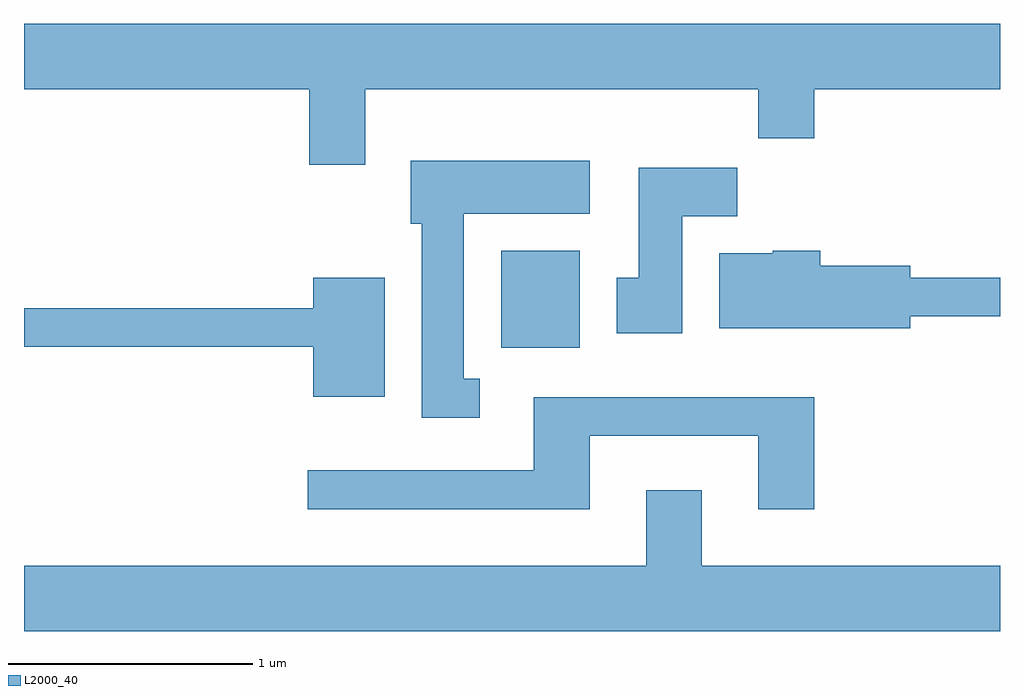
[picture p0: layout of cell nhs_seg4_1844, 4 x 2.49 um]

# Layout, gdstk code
import gdstk
lib = gdstk.Library(unit=1e-6, precision=1e-09)
def R(c, l, rs):  # rectangles x0, y0, x1, y1
    for r in rs: c.add(gdstk.rectangle(r[:2], r[2:], *l))
def P(c, l, *ps):  # polygons
    for p in ps: c.add(gdstk.Polygon(p, *l))
L2000_40 = (2000, 40)

nhs_seg4_1844 = lib.new_cell('nhs_seg4_1844')
R(nhs_seg4_1844, L2000_40, [(241.566,1271.476,241.889,1271.874)])
P(nhs_seg4_1844, L2000_40, [(241.009,1272.536),(242.621,1272.536),(242.621,1272.336),(242.849,1272.336),(242.849,1272.536),(243.611,1272.536),(243.611,1272.804),(239.611,1272.804),(239.611,1272.536),(240.781,1272.536),(240.781,1272.226),(241.009,1272.226)],
  [(241.478,1271.349),(241.414,1271.349),(241.414,1272.026),(241.929,1272.026),(241.929,1272.244),(241.196,1272.244),(241.196,1271.986),(241.241,1271.986),(241.241,1271.191),(241.478,1271.191)],
  [(242.309,1272.016),(242.534,1272.016),(242.534,1272.214),(242.131,1272.214),(242.131,1271.764),(242.041,1271.764),(242.041,1271.536),(242.309,1271.536)],
  [(243.244,1271.606),(243.611,1271.606),(243.611,1271.764),(243.244,1271.764),(243.244,1271.814),(242.874,1271.814),(242.874,1271.874),(242.68,1271.874),(242.68,1271.864),(242.461,1271.864),(242.461,1271.556),(243.244,1271.556)],
  [(241.089,1271.764),(240.796,1271.764),(240.796,1271.639),(239.611,1271.639),(239.611,1271.481),(240.796,1271.481),(240.796,1271.276),(241.089,1271.276)],
  [(241.929,1271.116),(242.621,1271.116),(242.621,1270.816),(242.849,1270.816),(242.849,1271.274),(241.701,1271.274),(241.701,1270.974),(240.773,1270.974),(240.773,1270.816),(241.929,1270.816)],
  [(243.611,1270.584),(242.389,1270.584),(242.389,1270.894),(242.161,1270.894),(242.161,1270.584),(239.611,1270.584),(239.611,1270.316),(243.611,1270.316)])

lib.write_gds('nhs_seg4_1844.gds')
